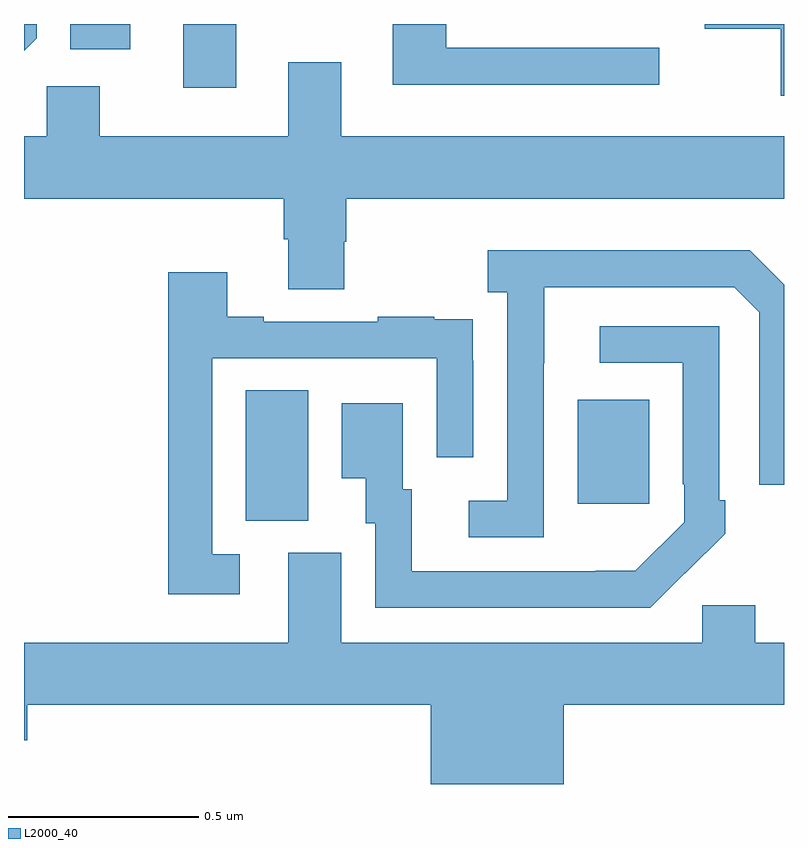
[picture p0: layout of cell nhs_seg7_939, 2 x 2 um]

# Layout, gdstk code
import gdstk
lib = gdstk.Library(unit=1e-6, precision=1e-09)
def R(c, l, rs):  # rectangles x0, y0, x1, y1
    for r in rs: c.add(gdstk.rectangle(r[:2], r[2:], *l))
def P(c, l, *ps):  # polygons
    for p in ps: c.add(gdstk.Polygon(p, *l))
L2000_40 = (2000, 40)

nhs_seg7_939 = lib.new_cell('nhs_seg7_939')
R(nhs_seg7_939, L2000_40, [(123.584,1075.693,123.748,1076.036), (124.457,1075.737,124.645,1076.011), (123.419,1076.832,123.559,1077), (123.122,1076.934,123.28,1077)])
P(nhs_seg7_939, L2000_40, [(125,1077),(124.791,1077),(124.791,1076.987),(124.992,1076.987),(124.992,1076.811),(125,1076.811)],
  [(124.672,1076.937),(124.111,1076.937),(124.111,1077),(123.971,1077),(123.971,1076.84),(124.672,1076.84)],
  [(123.033,1076.963),(123.033,1077),(123,1077),(123,1076.93)],
  [(123.843,1076.427),(123.848,1076.427),(123.848,1076.54),(125,1076.54),(125,1076.704),(123.835,1076.704),(123.835,1076.899),(123.695,1076.899),(123.695,1076.704),(123.199,1076.704),(123.199,1076.836),(123.06,1076.836),(123.06,1076.704),(123,1076.704),(123,1076.54),(123.683,1076.54),(123.683,1076.434),(123.695,1076.434),(123.695,1076.302),(123.843,1076.302)],
  [(124.368,1076.107),(124.369,1076.107),(124.369,1076.307),(124.869,1076.307),(124.935,1076.241),(124.935,1075.788),(125,1075.788),(125,1076.314),(124.91,1076.404),(124.221,1076.404),(124.221,1076.294),(124.272,1076.294),(124.272,1075.746),(124.17,1075.746),(124.17,1075.65),(124.368,1075.65)],
  [(123.568,1075.605),(123.495,1075.605),(123.495,1076.121),(124.086,1076.121),(124.086,1075.86),(124.182,1075.86),(124.182,1076.114),(124.181,1076.114),(124.181,1076.223),(124.079,1076.223),(124.079,1076.23),(123.931,1076.23),(123.931,1076.217),(123.631,1076.217),(123.631,1076.23),(123.535,1076.23),(123.535,1076.347),(123.379,1076.347),(123.379,1075.5),(123.568,1075.5)],
  [(124.739,1075.555),(124.74,1075.554),(124.845,1075.659),(124.845,1075.747),(124.83,1075.747),(124.83,1076.205),(124.515,1076.205),(124.515,1076.109),(124.734,1076.109),(124.734,1075.789),(124.737,1075.789),(124.737,1075.689),(124.609,1075.561),(124.505,1075.561),(124.505,1075.56),(124.021,1075.56),(124.021,1075.776),(123.997,1075.776),(123.997,1076.002),(123.836,1076.002),(123.836,1075.805),(123.899,1075.805),(123.899,1075.686),(123.924,1075.686),(123.924,1075.464),(124.648,1075.464)],
  [(124.42,1075.208),(125,1075.208),(125,1075.372),(124.924,1075.372),(124.924,1075.47),(124.785,1075.47),(124.785,1075.372),(123.835,1075.372),(123.835,1075.608),(123.695,1075.608),(123.695,1075.372),(123,1075.372),(123,1075.115),(123.008,1075.115),(123.008,1075.208),(124.07,1075.208),(124.07,1075),(124.42,1075)])

lib.write_gds('nhs_seg7_939.gds')
